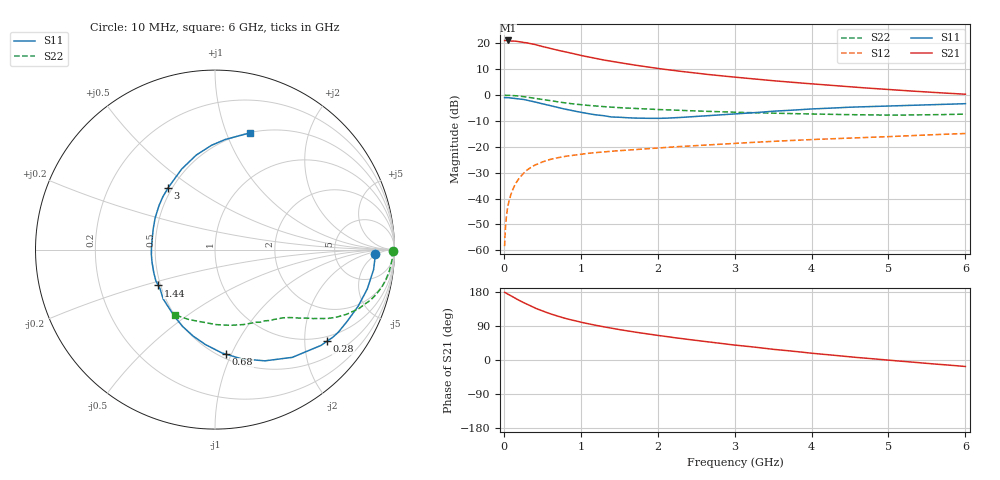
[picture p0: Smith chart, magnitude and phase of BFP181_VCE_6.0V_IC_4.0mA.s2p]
! Infineon Technologies  Discrete & RF Semiconductors
! BFP181
! VCE = 6.0 V,  IC =  4.0 mA
! Common Emitter S-Parameters:  Jan 2016
# GHz  S  MA  R  50
!  f  S11  S21  S12  S22
! GHz  MAG  ANG  MAG  ANG  MAG  ANG  MAG  ANG
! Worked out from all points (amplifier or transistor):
!   210 points, 10 MHz to 6 GHz, reference 50 ohm
!   highest |S21| = 21.1 dB at 50 MHz (marker M1)
!   |S21| within 3 dB of that: start of sweep to 601.3 MHz
!   unconditionally stable (mu >= 1): 1.952 GHz to end of sweep
!   at 185 MHz: K = 0.15, MSG = 26.7 dB, |S12| = -32.8 dB
!   at 1.52 GHz: K = 0.86, MSG = 17.0 dB, |S12| = -21.5 dB
!   at 6 GHz: K = 1.07, MAG = 6.0 dB, |S12| = -14.9 dB
!   S11 on the Smith chart (normalised r, x): 10 MHz: 17, -4; 280 MHz: 0.87, -2.54; 680 MHz: 0.54, -0.95; 1.44 GHz: 0.49, -0.23; 3 GHz: 0.48, +0.40; 6 GHz: 0.50, +1.22
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0.01  0.8912 -1.5  11.29 178.5  0.0012 83.7  0.9931 -0.5
0.025  0.8921 -3.6  11.31 177.2  0.0033 90.0  0.9859 -1.6
0.05  0.8906 -7.2  11.32 174.0  0.0068 89.0  0.9882 -3.3
0.15  0.8577 -21.6  10.99 162.7  0.019 77.2  0.9687 -9.6
0.195  0.8393 -27.7  10.78 157.8  0.0241 74.3  0.9545 -12.3
0.28  0.8065 -39.3  10.25 149.3  0.0332 68.2  0.92 -16.9
0.4  0.7387 -54.4  9.499 137.4  0.044 61.6  0.865 -22.4
0.5  0.679 -65.9  8.667 129.3  0.0508 55.8  0.8178 -26.1
0.6  0.6267 -76.3  8.027 122.1  0.0568 52.1  0.7759 -29.0
0.68  0.5859 -84.0  7.469 117.0  0.0604 49.5  0.7452 -30.8
0.8  0.5321 -95.7  6.833 109.6  0.0653 46.3  0.7035 -33.1
1.02  0.4584 -114.4  5.74 99.0  0.0722 42.0  0.645 -36.3
1.2  0.4127 -129.0  5.074 91.4  0.0771 39.3  0.612 -38.6
1.44  0.3738 -147.7  4.378 82.5  0.0828 37.6  0.5769 -41.1
1.7  0.3587 -167.1  3.789 73.8  0.0882 36.0  0.5481 -43.9
2.02  0.3542 172.5  3.231 64.5  0.0955 34.3  0.5234 -47.3
2.42  0.379 150.9  2.733 53.7  0.1041 32.7  0.4978 -52.6
3  0.4321 127.2  2.22 39.4  0.1163 30.3  0.4646 -60.7
3.1  0.4404 124.0  2.148 37.4  0.1185 29.8  0.4603 -62.3
4.1  0.5451 99.1  1.599 16.1  0.1397 24.2  0.4269 -80.5
5.1  0.6216 83.4  1.249 -2.1  0.1592 19.2  0.4099 -101.7
6  0.6796 73.1  1.035 -17.1  0.1803 13.7  0.4272 -121.5
